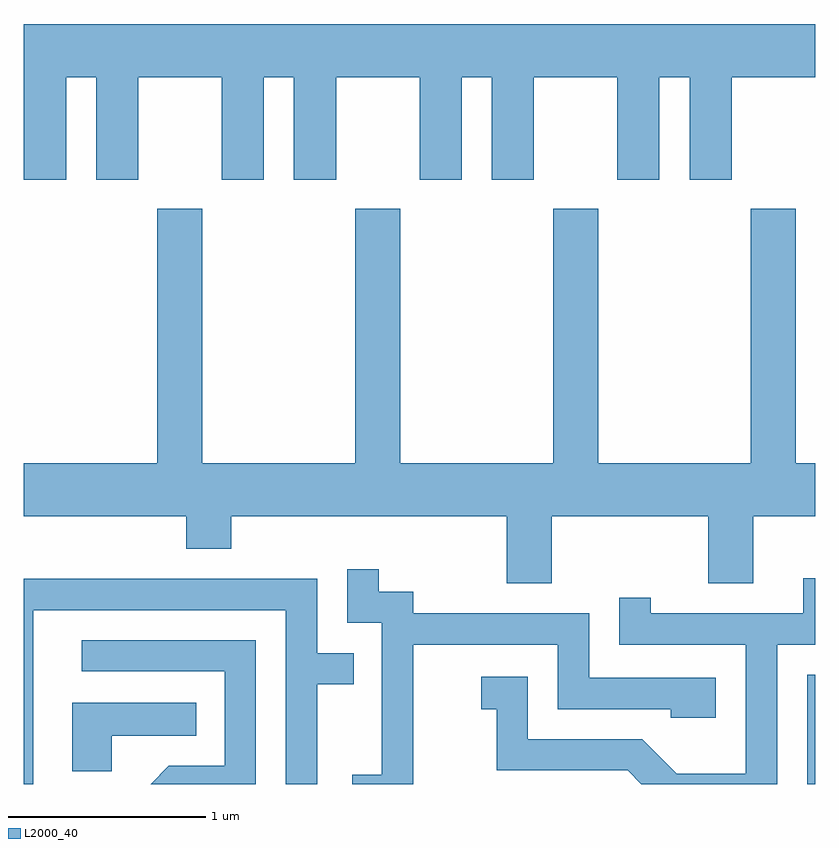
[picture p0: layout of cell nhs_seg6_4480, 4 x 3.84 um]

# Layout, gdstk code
import gdstk
lib = gdstk.Library(unit=1e-6, precision=1e-09)
def R(c, l, rs):  # rectangles x0, y0, x1, y1
    for r in rs: c.add(gdstk.rectangle(r[:2], r[2:], *l))
def P(c, l, *ps):  # polygons
    for p in ps: c.add(gdstk.Polygon(p, *l))
L2000_40 = (2000, 40)

nhs_seg6_4480 = lib.new_cell('nhs_seg6_4480')
R(nhs_seg6_4480, L2000_40, [(325.571,1624.162,325.611,1624.714)])
P(nhs_seg6_4480, L2000_40, [(321.824,1627.736),(321.976,1627.736),(321.976,1627.216),(322.189,1627.216),(322.189,1627.736),(322.611,1627.736),(322.611,1627.216),(322.824,1627.216),(322.824,1627.736),(322.976,1627.736),(322.976,1627.216),(323.189,1627.216),(323.189,1627.736),(323.611,1627.736),(323.611,1627.216),(323.824,1627.216),(323.824,1627.736),(323.976,1627.736),(323.976,1627.216),(324.189,1627.216),(324.189,1627.736),(324.611,1627.736),(324.611,1627.216),(324.824,1627.216),(324.824,1627.736),(324.976,1627.736),(324.976,1627.216),(325.189,1627.216),(325.189,1627.736),(325.611,1627.736),(325.611,1628.004),(321.611,1628.004),(321.611,1627.216),(321.824,1627.216)],
  [(324.279,1625.516),(325.071,1625.516),(325.071,1625.176),(325.299,1625.176),(325.299,1625.516),(325.611,1625.516),(325.611,1625.784),(325.514,1625.784),(325.514,1627.069),(325.286,1627.069),(325.286,1625.784),(324.514,1625.784),(324.514,1627.069),(324.286,1627.069),(324.286,1625.784),(323.514,1625.784),(323.514,1627.069),(323.286,1627.069),(323.286,1625.784),(322.514,1625.784),(322.514,1627.069),(322.286,1627.069),(322.286,1625.784),(321.611,1625.784),(321.611,1625.516),(322.431,1625.516),(322.431,1625.351),(322.659,1625.351),(322.659,1625.516),(324.051,1625.516),(324.051,1625.176),(324.279,1625.176)],
  [(323.579,1624.866),(324.311,1624.866),(324.311,1624.541),(324.881,1624.541),(324.881,1624.496),(325.109,1624.496),(325.109,1624.699),(324.469,1624.699),(324.469,1625.024),(323.579,1625.024),(323.579,1625.134),(323.404,1625.134),(323.404,1625.248),(323.246,1625.248),(323.246,1624.976),(323.421,1624.976),(323.421,1624.209),(323.271,1624.209),(323.271,1624.162),(323.579,1624.162)],
  [(325.419,1624.866),(325.611,1624.866),(325.611,1625.203),(325.551,1625.203),(325.551,1625.024),(324.779,1625.024),(324.779,1625.103),(324.621,1625.103),(324.621,1624.866),(325.261,1624.866),(325.261,1624.214),(324.912,1624.214),(324.737,1624.389),(324.159,1624.389),(324.159,1624.704),(323.923,1624.704),(323.923,1624.541),(324.001,1624.541),(324.001,1624.231),(324.664,1624.231),(324.733,1624.162),(325.419,1624.162)],
  [(321.659,1625.041),(322.936,1625.041),(322.936,1624.162),(323.094,1624.162),(323.094,1624.666),(323.278,1624.666),(323.278,1624.824),(323.094,1624.824),(323.094,1625.199),(321.611,1625.199),(321.611,1624.162),(321.659,1624.162)],
  [(322.784,1624.889),(321.903,1624.889),(321.903,1624.731),(322.626,1624.731),(322.626,1624.254),(322.344,1624.254),(322.252,1624.162),(322.784,1624.162)],
  [(322.054,1624.406),(322.483,1624.406),(322.483,1624.574),(321.856,1624.574),(321.856,1624.226),(322.054,1624.226)])

lib.write_gds('nhs_seg6_4480.gds')
